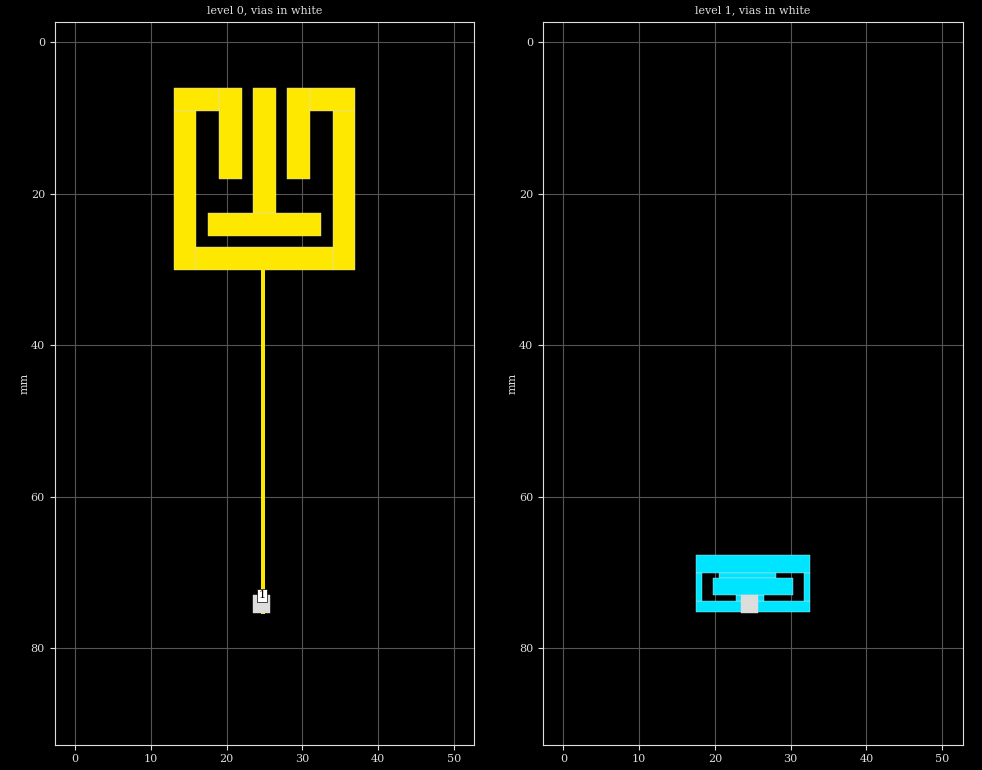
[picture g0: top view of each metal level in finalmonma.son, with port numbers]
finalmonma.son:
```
FTYP SONPROJ 3 ! Sonnet Project File
VER 11.54
HEADER
LIC Sonn.1.12345
DAT 05/19/2016 23:56:35
BUILT_BY_CREATED xgeom 11.54 05/25/2015 13:37:34
BUILT_BY_SAVED xgeom 11.54
MDATE 05/27/2015 00:52:19
HDATE 05/26/2015 02:15:10
END HEADER
DIM
FREQ GHZ
IND NH
LNG MM
ANG DEG
CON /OH
CAP PF
RES OH
END DIM
FREQ
ABS 0.2 2.5 
END FREQ
CONTROL
ABS
OPTIONS  -dj 
SPEED 0
CACHE_ABS 1
TARG_ABS 300
Q_ACC N
END CONTROL
GEO
TMET "Free Space" 0 FREESPACE 376.7303136 0 0 0
BMET "Free Space" 0 FREESPACE 376.7303136 0 0 0
BOX 2 50 90 200 360 20 0
      16 1 1 0 0 0 0 "Air"
      1.6 4.2 1 0.025 0 0 0 "FR4"
      16 1 1 0 0 0 0 "Air"
POR1 STD
POLY 15 1
0
1 50 0 0 0 24.625 72.975 
NUM 18
0 5 -1 N 8 1 1 100 100 0 0 0 Y
28 6
31 6
31 18
28 18
28 6
END
0 5 -1 N 9 1 1 100 100 0 0 0 Y
19 6
22 6
22 18
19 18
19 6
END
0 5 -1 N 10 1 1 100 100 0 0 0 Y
31 6
37 6
37 9
31 9
31 6
END
0 5 -1 N 11 1 1 100 100 0 0 0 Y
13 6
19 6
19 9
13 9
13 6
END
0 5 -1 N 12 1 1 100 100 0 0 0 Y
34 9
37 9
37 30
34 30
34 9
END
0 5 -1 N 13 1 1 100 100 0 0 0 Y
13 9
16 9
16 30
13 30
13 9
END
0 5 -1 N 14 1 1 100 100 0 0 0 Y
16 27
34 27
34 30
16 30
16 27
END
VIA POLYGON
0 5 -1 N 15 1 1 100 100 0 0 0 Y
TOLEVEL 1
23.5 72.975
25.75 72.975
25.75 75.375
23.5 75.375
23.5 72.975
END
0 5 -1 N 17 1 1 100 100 0 0 0 Y
23.5 6
26.5 6
26.5 22.5
23.5 22.5
23.5 6
END
0 5 -1 N 18 1 1 100 100 0 0 0 Y
17.5 22.5
32.5 22.5
32.5 25.5
17.5 25.5
17.5 22.5
END
0 5 -1 N 19 1 1 100 100 0 0 0 Y
24.49999748 29.99999961
24.99999748 29.99999961
24.99999748 75.49999961
24.49999748 75.49999961
24.49999748 29.99999961
END
1 5 -1 N 21 1 1 100 100 0 0 0 Y
17.5 67.725
32.5 67.725
32.5 69.975
17.5 69.975
17.5 67.725
END
1 5 -1 N 22 1 1 100 100 0 0 0 Y
17.5 73.725
32.5 73.725
32.5 75.225
17.5 75.225
17.5 73.725
END
1 5 -1 N 23 1 1 100 100 0 0 0 Y
31.75 69.975
32.5 69.975
32.5 73.725
31.75 73.725
31.75 69.975
END
1 5 -1 N 24 1 1 100 100 0 0 0 Y
17.5 69.975
18.25 69.975
18.25 73.725
17.5 73.725
17.5 69.975
END
1 5 -1 N 25 1 1 100 100 0 0 0 Y
20.5 69.975
28 69.975
28 70.725
20.5 70.725
20.5 69.975
END
1 5 -1 N 26 1 1 100 100 0 0 0 Y
22.75 72.975
26.5 72.975
26.5 73.725
22.75 73.725
22.75 72.975
END
1 5 -1 N 27 1 1 100 100 0 0 0 Y
19.75 70.725
30.25 70.725
30.25 72.975
19.75 72.975
19.75 70.725
END
END GEO
OPT
MAX 100
VARS
END OPT
VARSWP
END VARSWP
QSG
IMPORT NO
EXTRA_METAL NO
UNITS YES
ALIGN NO
REF NO
VIEW_RES NO
METALS YES
USED YES
END QSG
```
